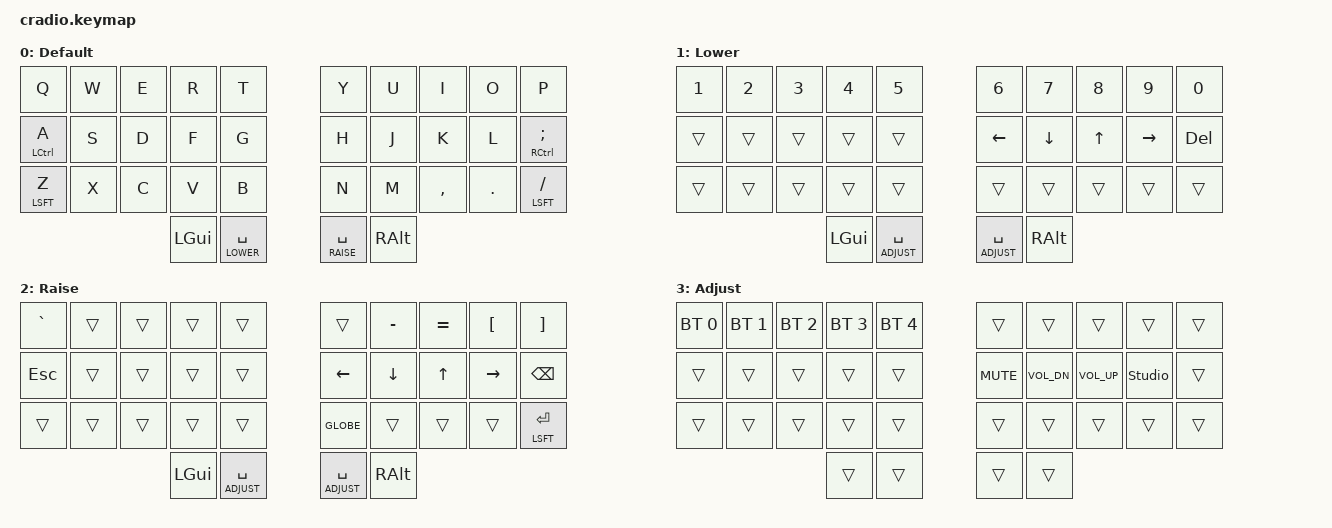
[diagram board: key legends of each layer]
/*
 * Copyright (c) 2020 The ZMK Contributors
 *
 * SPDX-License-Identifier: MIT
 */

#include <behaviors.dtsi>
#include <dt-bindings/zmk/keys.h>
#include <dt-bindings/zmk/bt.h>
#include <dt-bindings/zmk/pointing.h>

// Layers
#define DEFAULT   0
#define LOWER     1
#define RAISE     2
#define ADJUST    3

&mt {
  flavor = "balanced";
  tapping-term-ms = <125>;
  retro-tap;
};

/ {
  behaviors {
    ctrl_mt: ctrl_mod_tap {
      compatible = "zmk,behavior-hold-tap";
      #binding-cells = <2>;
      flavor = "balanced";
      tapping-term-ms = <125>;
      hold-while-undecided;
      bindings = <&kp>, <&kp>;
    };
  };

  combos {
    compatible = "zmk,combos";
    combo_esc_jk {
      timeout-ms = <50>;
      key-positions = <16 17>; // jk
      bindings = <&kp ESC>;
    };

    combo_esc_qw {
      timeout-ms = <50>;
      key-positions = <0 1>; // qw
      bindings = <&kp ESC>;
    };

    combo_tab_df {
      timeout-ms = <50>;
      key-positions = <12 13>; // df
      bindings = <&kp TAB>;
    };

    combo_quot {
      timeout-ms = <50>;
      key-positions = <18 19>; // l;
      bindings = <&kp SINGLE_QUOTE>;
    };

    combo_bslash {
      timeout-ms = <50>;
      key-positions = <8 9>;
      bindings = <&kp BACKSLASH>;
    };

  };

  keymap {
    compatible = "zmk,keymap";

    layer_default {
      display-name = "Default";
      bindings = <
        &kp Q &kp W &kp E &kp R &kp T 						&kp Y &kp U  &kp I    &kp O   &kp P
        &ctrl_mt LCTL A &kp S &kp D &kp F &kp G 			      &kp H &kp J &kp K &kp L &ctrl_mt RCTL SCLN
        &mt LSFT Z &kp X &kp C &kp V &kp B			  &kp N &kp M  &kp CMMA &kp DOT &mt LSFT SLASH
        &kp LGUI &lt LOWER SPC                    &lt RAISE SPC &kp RALT
        >;
    };

    layer_lower {
      display-name = "Lower";
      bindings = <
        &kp NUM_1  &kp NUM_2    &kp NUM_3    &kp NUM_4    &kp NUM_5		&kp NUM_6 &kp NUM_7 &kp NUM_8 &kp NUM_9 &kp NUM_0
        &trans     &trans       &trans       &trans       &trans		  &kp LEFT  &kp DOWN  &kp UP    &kp RIGHT &kp DEL
        &trans     &trans 	    &trans       &trans       &trans 	    &trans    &trans    &trans    &trans    &trans
        &kp LGUI &lt ADJUST SPC                    &lt ADJUST SPC &kp RALT
        >;
    };

    layer_raise {
      display-name = "Raise";
      bindings = <
        &kp GRAVE   &trans 	    &trans       &trans       &trans 	    &trans      &kp MINUS     &kp EQUAL    &kp LBKT   &kp RBKT
        &kp ESC     &trans      &trans       &trans       &trans		  &kp LEFT    &kp DOWN      &kp UP       &kp RIGHT  &kp BKSP
        &trans      &trans      &trans       &trans       &trans		  &kp GLOBE   &trans        &trans       &trans     &mt LSFT ENTER
        &kp LGUI &lt ADJUST SPC                    &lt ADJUST SPC &kp RALT
        >;
    };

    layer_adjust {
      display-name = "Adjust";
      bindings = <
        &bt BT_SEL 0 &bt BT_SEL 1 &bt BT_SEL 2 &bt BT_SEL 3 &bt BT_SEL 4 			&trans      &trans       &trans      &trans         &trans
        &trans       &trans       &trans       &trans       &trans  						&kp K_MUTE  &kp K_VOL_DN &kp K_VOL_UP &studio_unlock &trans
        &trans       &trans       &trans       &trans       &trans   				&trans      &trans       &trans      &trans         &trans
        &trans &trans  					&trans &trans
        >;
    };

    layer_studio_4 {
      status = "reserved";
      display-name = "Studio 4";
    };

    layer_studio_5 {
      status = "reserved";
      display-name = "Studio 5";
    };

    layer_studio_6 {
      status = "reserved";
      display-name = "Studio 6";
    };

    layer_studio_7 {
      status = "reserved";
      display-name = "Studio 7";
    };

  };
};
